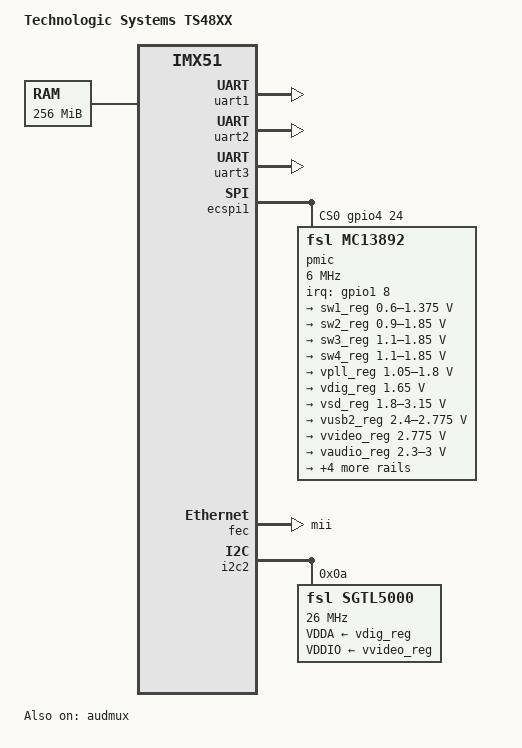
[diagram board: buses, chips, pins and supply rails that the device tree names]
/*
 * Copyright 2011 Freescale Semiconductor, Inc.
 * Copyright 2011 Linaro Ltd.
 *
 * The code contained herein is licensed under the GNU General Public
 * License. You may obtain a copy of the GNU General Public License
 * Version 2 or later at the following locations:
 *
 * http://www.opensource.org/licenses/gpl-license.html
 * http://www.gnu.org/copyleft/gpl.html
 */

/dts-v1/;
#include "imx51.dtsi"

/ {
	model = "Technologic Systems TS48XX";
	compatible = "technologicsystems,imx51-ts48xx";

	chosen {
		bootargs = "root=/dev/ram0 rw init=/linuxrc console=null nbd.max_part=63 debug";      
		linux,initrd-start = <0x91000000>;
		linux,initrd-end =   <0x91400000>;
		};
	
	memory {
		device_type = "memory";
		reg = <0x90000000 0x10000000>;
	};
	
	display@di0 {
		compatible = "fsl,imx-parallel-display";
		crtcs = <&ipu 0>;
		interface-pix-fmt = "rgb24";
		pinctrl-names = "default";
		pinctrl-0 = <&pinctrl_ipu_disp1_1>;
	};

	display@di1 {
		compatible = "fsl,imx-parallel-display";
		crtcs = <&ipu 1>;
		interface-pix-fmt = "rgb565";
		pinctrl-names = "default";
		pinctrl-0 = <&pinctrl_ipu_disp2_1>;
	};
};

&uart1 {
	pinctrl-names = "default";
	pinctrl-0 = <&pinctrl_uart1_1>;
	status = "okay";
};

&uart2 {
	pinctrl-names = "default";
	pinctrl-0 = <&pinctrl_uart2_1>;
	status = "okay";
};

&uart3 {
	pinctrl-names = "default";
	pinctrl-0 = <&pinctrl_uart3_1>;
	status = "okay";
};

&ecspi1 {
	pinctrl-names = "default";
	pinctrl-0 = <&pinctrl_ecspi1_1>;
	fsl,spi-num-chipselects = <2>;
	cs-gpios = <&gpio4 24 0>, <&gpio4 25 0>;
	status = "okay";

	pmic: mc13892@0 {
		#address-cells = <1>;
		#size-cells = <0>;
		compatible = "fsl,mc13892";
		spi-max-frequency = <6000000>;
		reg = <0>;
		interrupt-parent = <&gpio1>;
		interrupts = <8 0x4>;

		regulators {
			sw1_reg: sw1 {
				regulator-min-microvolt = <600000>;
				regulator-max-microvolt = <1375000>;
				regulator-boot-on;
				regulator-always-on;
			};

			sw2_reg: sw2 {
				regulator-min-microvolt = <900000>;
				regulator-max-microvolt = <1850000>;
				regulator-boot-on;
				regulator-always-on;
			};

			sw3_reg: sw3 {
				regulator-min-microvolt = <1100000>;
				regulator-max-microvolt = <1850000>;
				regulator-boot-on;
				regulator-always-on;
			};

			sw4_reg: sw4 {
				regulator-min-microvolt = <1100000>;
				regulator-max-microvolt = <1850000>;
				regulator-boot-on;
				regulator-always-on;
			};

			vpll_reg: vpll {
				regulator-min-microvolt = <1050000>;
				regulator-max-microvolt = <1800000>;
				regulator-boot-on;
				regulator-always-on;
			};

			vdig_reg: vdig {
				regulator-min-microvolt = <1650000>;
				regulator-max-microvolt = <1650000>;
				regulator-boot-on;
			};

			vsd_reg: vsd {
				regulator-min-microvolt = <1800000>;
				regulator-max-microvolt = <3150000>;
			};

			vusb2_reg: vusb2 {
				regulator-min-microvolt = <2400000>;
				regulator-max-microvolt = <2775000>;
				regulator-boot-on;
				regulator-always-on;
			};

			vvideo_reg: vvideo {
				regulator-min-microvolt = <2775000>;
				regulator-max-microvolt = <2775000>;
			};

			vaudio_reg: vaudio {
				regulator-min-microvolt = <2300000>;
				regulator-max-microvolt = <3000000>;
			};

			vcam_reg: vcam {
				regulator-min-microvolt = <2500000>;
				regulator-max-microvolt = <3000000>;
			};

			vgen1_reg: vgen1 {
				regulator-min-microvolt = <1200000>;
				regulator-max-microvolt = <1200000>;
			};

			vgen2_reg: vgen2 {
				regulator-min-microvolt = <1200000>;
				regulator-max-microvolt = <3150000>;
				regulator-always-on;
			};

			vgen3_reg: vgen3 {
				regulator-min-microvolt = <1800000>;
				regulator-max-microvolt = <2900000>;
				regulator-always-on;
			};
		};
	};
};

&fec {
	pinctrl-names = "default";
	pinctrl-0 = <&pinctrl_fec_1>;
	phy-mode = "mii";
	status = "okay";
};

&audmux {
	pinctrl-names = "default";
	pinctrl-0 = <&pinctrl_audmux_1>;
	status = "okay";
};

&i2c2 {
	pinctrl-names = "default";
	pinctrl-0 = <&pinctrl_i2c2_1>;
	status = "okay";

	sgtl5000: codec@0a {
		compatible = "fsl,sgtl5000";
		reg = <0x0a>;
		clock-frequency = <26000000>;
		VDDA-supply = <&vdig_reg>;
		VDDIO-supply = <&vvideo_reg>;
	};
};


